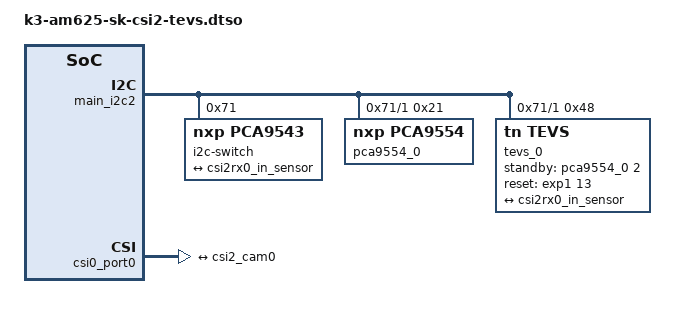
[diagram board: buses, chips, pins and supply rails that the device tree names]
// SPDX-License-Identifier: GPL-2.0
/*
 * Technexion TEVS-*-RPI - camera module
 *
 * Copyright (C) 2022 Texas Instruments Incorporated - https://www.ti.com/
 *
 */

/dts-v1/;
/plugin/;

#include <dt-bindings/gpio/gpio.h>

&main_i2c2 {
	#address-cells = <1>;
	#size-cells = <0>;
	status = "okay";

	i2c-switch@71 {
		compatible = "nxp,pca9543";
		#address-cells = <1>;
		#size-cells = <0>;
		reg = <0x71>;

		/* CAM port */
		i2c@1 {
			#address-cells = <1>;
			#size-cells = <0>;
			reg = <1>;

			pca9554_0: pca9554_0@21 {
				compatible = "nxp,pca9554";
				reg = <0x21>;
				gpio-controller;
				#gpio-cells = <2>;
				status = "okay";
			};

			tevs_0: tevs@48 {
				compatible = "tn,tevs";
				reg = <0x48>;

				standby-gpios = <&pca9554_0 2 GPIO_ACTIVE_HIGH>;
				reset-gpios = <&exp1 13 GPIO_ACTIVE_HIGH>;

				data-lanes = <2>;
				data-frequency = <800>;
				pixel-rate = <41430400>;  //61430400
				continuous-clock = <0>;
				status = "okay";

				port {
					csi2_cam0: endpoint {
						remote-endpoint = <&csi2rx0_in_sensor>;
						clock-lanes = <0>;
						data-lanes = <1 2>;
					};
				};
			};
		};
	};
};

&csi0_port0 {
	status = "okay";

	csi2rx0_in_sensor: endpoint {
		remote-endpoint = <&csi2_cam0>;
		bus-type = <4>; /* CSI2 DPHY. */
		clock-lanes = <0>;
		data-lanes = <1 2>;
	};
};
